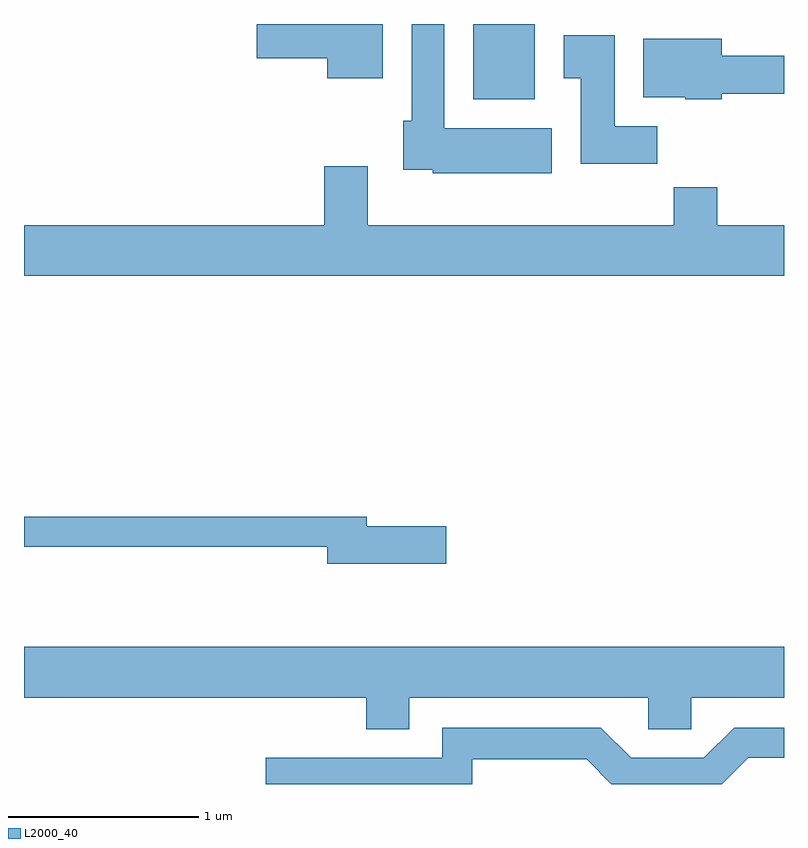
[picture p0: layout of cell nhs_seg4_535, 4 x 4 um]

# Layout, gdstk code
import gdstk
lib = gdstk.Library(unit=1e-6, precision=1e-09)
def R(c, l, rs):  # rectangles x0, y0, x1, y1
    for r in rs: c.add(gdstk.rectangle(r[:2], r[2:], *l))
def P(c, l, *ps):  # polygons
    for p in ps: c.add(gdstk.Polygon(p, *l))
L2000_40 = (2000, 40)

nhs_seg4_535 = lib.new_cell('nhs_seg4_535')
R(nhs_seg4_535, L2000_40, [(201.976,1375.586,202.299,1375.982)])
P(nhs_seg4_535, L2000_40, [(201.499,1375.982),(200.836,1375.982),(200.836,1375.801),(201.206,1375.801),(201.206,1375.696),(201.499,1375.696)],
  [(202.389,1375.434),(201.824,1375.434),(201.824,1375.982),(201.651,1375.982),(201.651,1375.474),(201.606,1375.474),(201.606,1375.216),(201.761,1375.216),(201.761,1375.196),(202.389,1375.196)],
  [(202.944,1375.444),(202.719,1375.444),(202.719,1375.924),(202.451,1375.924),(202.451,1375.696),(202.541,1375.696),(202.541,1375.246),(202.944,1375.246)],
  [(203.284,1375.616),(203.611,1375.616),(203.611,1375.814),(203.284,1375.814),(203.284,1375.904),(202.871,1375.904),(202.871,1375.596),(203.09,1375.596),(203.09,1375.586),(203.284,1375.586)],
  [(203.611,1374.924),(203.259,1374.924),(203.259,1375.124),(203.031,1375.124),(203.031,1374.924),(201.419,1374.924),(201.419,1375.234),(201.191,1375.234),(201.191,1374.924),(199.611,1374.924),(199.611,1374.656),(203.611,1374.656)],
  [(201.834,1373.339),(201.414,1373.339),(201.414,1373.389),(199.611,1373.389),(199.611,1373.231),(201.206,1373.231),(201.206,1373.141),(201.834,1373.141)],
  [(201.639,1372.436),(202.896,1372.436),(202.896,1372.271),(203.124,1372.271),(203.124,1372.436),(203.611,1372.436),(203.611,1372.704),(199.611,1372.704),(199.611,1372.436),(201.411,1372.436),(201.411,1372.271),(201.639,1372.271)],
  [(201.969,1372.111),(202.574,1372.111),(202.703,1371.982),(203.283,1371.982),(203.422,1372.121),(203.611,1372.121),(203.611,1372.279),(203.349,1372.279),(203.189,1372.119),(202.807,1372.119),(202.647,1372.279),(201.811,1372.279),(201.811,1372.119),(200.883,1372.119),(200.883,1371.982),(201.969,1371.982)])

lib.write_gds('nhs_seg4_535.gds')
